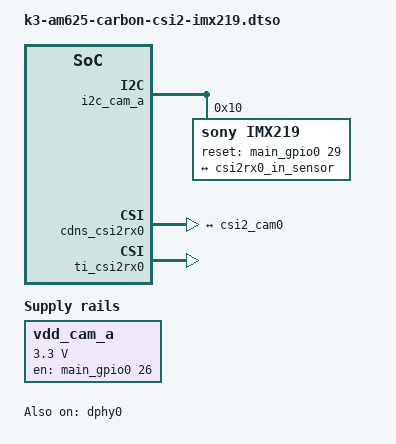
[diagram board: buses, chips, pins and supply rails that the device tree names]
// SPDX-License-Identifier: GPL-2.0
/*
 * IMX219 (RPi v2) Camera Module
 * Copyright (C) 2024 Ezurio LLC
 */

/dts-v1/;
/plugin/;

#include <dt-bindings/gpio/gpio.h>
#include "ti/k3-pinctrl.h"

&{/} {
	vdd_cam_a: regulator-cam-a-pwr {
		compatible = "regulator-fixed";
		regulator-name = "vdd_cam_a";
		regulator-min-microvolt = <3300000>;
		regulator-max-microvolt = <3300000>;
		gpios = <&main_gpio0 26 GPIO_ACTIVE_HIGH>; /* GPIO_C_6 / CAM_A_PWR */
		enable-active-high;
		regulator-always-on;
		regulator-boot-on;
	};

	/* On Camera module oscillator */
	clk_imx219_fixed: imx219-xclk {
		compatible = "fixed-clock";
		#clock-cells = <0>;
		clock-frequency = <24000000>;
	};
};

&main_pmx0 {
	main_cam_a_reset_default: main-cam-a-reset-default-pins {
		pinctrl-single,pins = <
			AM62X_IOPAD(0x074, PIN_INPUT, 7) /* CAM_A_RST# (U25) GPMC0_AD14.GPIO0_29 */
		>;
	};
};

#if 0  /* CPU CAM_MCK */
&ecap2 {
	status = "okay";
};

&cam_mck {
	status = "okay";
};
#endif

&i2c_cam_a {
	#address-cells = <1>;
	#size-cells = <0>;

	imx219: camera@10 {
		compatible = "sony,imx219";
		reg = <0x10>;

		//clocks = <&cam_mck>; /* From CPU */
		clocks = <&clk_imx219_fixed>; /* On Camera module */
		clock-names = "xclk";

		pinctrl-names = "default";
		pinctrl-0 = <&main_cam_a_reset_default>;
		reset-gpios = <&main_gpio0 29 GPIO_ACTIVE_HIGH>;

		port {
			csi2_cam0: endpoint {
				remote-endpoint = <&csi2rx0_in_sensor>;
				link-frequencies = /bits/ 64 <456000000>;
				clock-lanes = <0>;
				data-lanes = <1 2>;
			};
		};
	};
};

&cdns_csi2rx0 {
	ports {
		#address-cells = <1>;
		#size-cells = <0>;

		csi0_port0: port@0 {
			reg = <0>;
			status = "okay";

			csi2rx0_in_sensor: endpoint {
				remote-endpoint = <&csi2_cam0>;
				bus-type = <4>; /* CSI2 DPHY. */
				clock-lanes = <0>;
				data-lanes = <1 2>;
			};
		};
	};
};

&ti_csi2rx0 {
	status = "okay";
};

&dphy0 {
	status = "okay";
};
